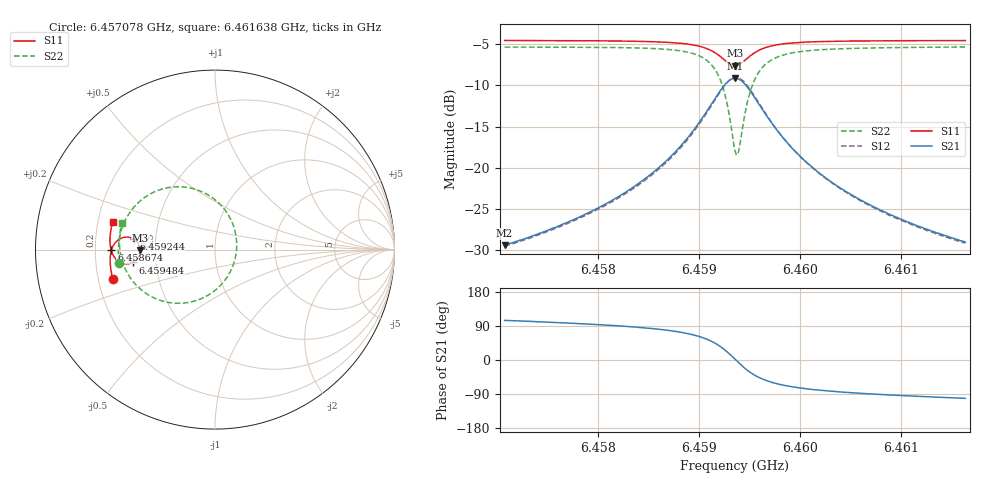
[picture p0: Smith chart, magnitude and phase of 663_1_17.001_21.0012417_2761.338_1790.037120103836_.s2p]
#  HZ  S  RI  R  50.00
! Rohde & Schwarz Vector Network Analyzer
! Rohde-Schwarz,ZNB20-2Port,1311601062101988,3.16
! Created: UTC 3/20/2024, 11:21:50 PM
! freq[Hz]  re:S11  im:S11  re:S21  im:S21  re:S12  im:S12  re:S22  im:S22
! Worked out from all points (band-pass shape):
!   401 points, 6.457078 GHz to 6.461638 GHz, reference 50 ohm
!   highest |S21| = -9.13 dB at 6.459358 GHz (marker M1); lowest = -29.4 dB at 6.457078 GHz (marker M2)
!   |S21| within 3 dB of the highest: 6.459132 GHz to 6.459588 GHz (455.6 kHz wide, 0.00705 % of centre)
!   lowest |S11| = -7.6 dB at 6.459358 GHz (marker M3), VSWR 2.43, Z = 20.6 - j0.229 ohm
!   |S11| at or under -10 dB: nowhere
!   |S22| runs from -18.4 to -5.3 dB; largest |S21 - S12| = 0.014
!   S11 on the Smith chart (normalised r, x): 6.457078 GHz: 0.26, -0.13; 6.458674 GHz: 0.27, -0.00; 6.459244 GHz: 0.37, +0.06; 6.459484 GHz: 0.37, -0.07; 6.461638 GHz: 0.26, +0.13
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6.4570784e9  -0.5688 -0.1644  -0.00837 0.0329  -0.00668 0.0329  -0.5341 -0.076
6.4578422e9  -0.5819 -0.0974  -0.00503 0.051  -0.00239 0.0504  -0.5383 0.014
6.4582525e9  -0.5843 -0.056  0.000979 0.0698  0.00424 0.0684  -0.5294 0.0794
6.4586059e9  -0.5798 -0.0138  0.0155 0.0995  0.0195 0.0966  -0.5023 0.1591
6.4586743e9  -0.5776 -0.0042  0.021 0.1077  0.025 0.1045  -0.4922 0.1792
6.4588681e9  -0.5646 0.026  0.0479 0.1387  0.052 0.1336  -0.4412 0.2481
6.4590163e9  -0.5416 0.052  0.0937 0.169  0.0969 0.1621  -0.3567 0.312
6.4591531e9  -0.4975 0.0693  0.1814 0.1852  0.1822 0.1775  -0.1963 0.35
6.4592443e9  -0.4527 0.0591  0.2716 0.1535  0.2718 0.1477  -0.0291 0.299
6.4593127e9  -0.4235 0.0268  0.3328 0.0813  0.3347 0.0761  0.0878 0.1685
6.4593583e9  -0.4164 -0.00459  0.3495 0.0124  0.3531 0.00575  0.1207 0.0401
6.4593925e9  -0.4201 -0.0286  0.3436 -0.0407  0.3477 -0.0496  0.1093 -0.061
6.4594381e9  -0.4359 -0.0552  0.3146 -0.1014  0.3171 -0.1134  0.0511 -0.1762
6.4594837e9  -0.4582 -0.0718  0.2717 -0.1431  0.2712 -0.1566  -0.0357 -0.2525
6.4595293e9  -0.4815 -0.0788  0.2266 -0.1659  0.2228 -0.179  -0.1269 -0.2899
6.4595749e9  -0.5022 -0.0788  0.1854 -0.1745  0.1792 -0.1863  -0.2083 -0.2991
6.4597231e9  -0.5466 -0.058  0.0961 -0.1598  0.0874 -0.1662  -0.3788 -0.2475
6.4598827e9  -0.5683 -0.0301  0.0508 -0.1309  0.0429 -0.1337  -0.4601 -0.1735
6.4601221e9  -0.5808 0.00569  0.0214 -0.0987  0.0156 -0.0992  -0.5078 -0.0897
6.4604755e9  -0.5851 0.0479  0.00535 -0.0706  0.00117 -0.0701  -0.529 -0.00747
6.4608858e9  -0.5829 0.0892  -0.00199 -0.0524  -0.0048 -0.0514  -0.5321 0.0588
6.4616382e9  -0.5702 0.156  -0.00691 -0.0349  -0.00879 -0.034  -0.5201 0.1484
